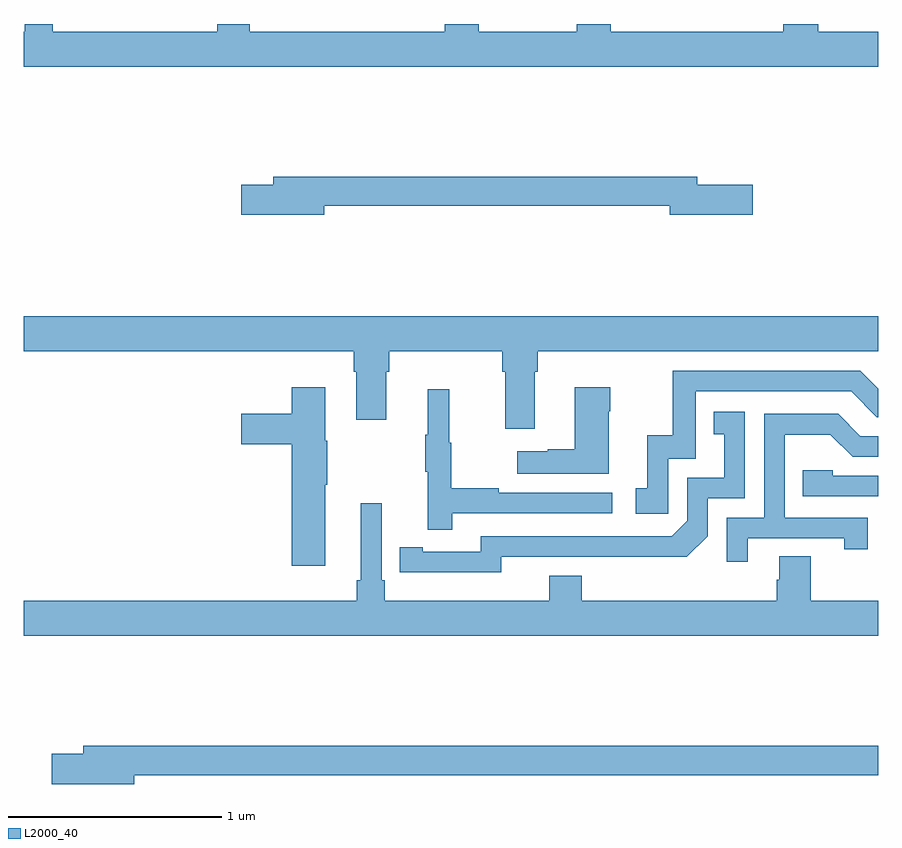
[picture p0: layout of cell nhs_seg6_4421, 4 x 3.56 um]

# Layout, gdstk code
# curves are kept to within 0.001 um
import gdstk
lib = gdstk.Library(unit=1e-6, precision=1e-09)
def P(c, l, *ps):  # polygons
    for p in ps: c.add(gdstk.Polygon(p, *l))
L2000_40 = (2000, 40)

nhs_seg6_4421 = lib.new_cell('nhs_seg6_4421')
P(nhs_seg6_4421, L2000_40, [(375,983.464),(374.72,983.464),(374.72,983.5),(374.555,983.5),(374.555,983.464),(373.748,983.464),(373.748,983.5),(373.588,983.5),(373.588,983.464),(373.131,983.464),(373.131,983.5),(372.971,983.5),(372.971,983.464),(372.059,983.464),(372.059,983.5),(371.906,983.5),(371.906,983.464),(371.135,983.464),(371.135,983.5),(371.005,983.5),(371.005,983.464),(371,983.464),(371,983.3),(375,983.3)],
  [(372.406,982.648),(374.024,982.648),(374.024,982.606),(374.413,982.606),(374.413,982.748),(374.152,982.748),(374.152,982.784),(372.167,982.784),(372.167,982.748),(372.018,982.748),(372.018,982.606),(372.406,982.606)],
  [(373.393,981.872),(373.406,981.872),(373.406,981.968),(375,981.968),(375,982.132),(371,982.132),(371,981.968),(372.545,981.968),(372.545,981.872),(372.557,981.872),(372.557,981.648),(372.697,981.648),(372.697,981.872),(372.71,981.872),(372.71,981.968),(373.241,981.968),(373.241,981.872),(373.253,981.872),(373.253,981.606),(373.393,981.606)],
  [(374.016,981.465),(374.145,981.465),(374.145,981.78),(374.874,981.78),(374.994,981.66),(375,981.66),(375,981.792),(374.916,981.876),(374.037,981.876),(374.037,981.574),(373.919,981.574),(373.919,981.327),(373.866,981.327),(373.866,981.207),(374.016,981.207)],
  [(373.738,981.686),(373.746,981.686),(373.746,981.799),(373.58,981.799),(373.58,981.509),(373.454,981.509),(373.454,981.499),(373.311,981.499),(373.311,981.395),(373.738,981.395)],
  [(372.412,981.343),(372.42,981.343),(372.42,981.549),(372.412,981.549),(372.412,981.799),(372.254,981.799),(372.254,981.675),(372.018,981.675),(372.018,981.533),(372.254,981.533),(372.254,980.964),(372.412,980.964)],
  [(373.007,981.21),(373.756,981.21),(373.756,981.306),(373.223,981.306),(373.223,981.326),(373,981.326),(373,981.54),(372.992,981.54),(372.992,981.79),(372.89,981.79),(372.89,981.577),(372.879,981.577),(372.879,981.403),(372.89,981.403),(372.89,981.132),(373.007,981.132)],
  [(373.236,981.006),(374.104,981.005),(374.202,981.102),(374.202,981.279),(374.376,981.279),(374.376,981.685),(374.23,981.685),(374.23,981.579),(374.279,981.579),(374.279,981.375),(374.106,981.375),(374.106,981.174),(374.034,981.102),(373.14,981.102),(373.14,981.03),(372.868,981.03),(372.868,981.05),(372.76,981.05),(372.76,980.934),(373.236,980.933)],
  [(374.389,981.093),(374.84,981.093),(374.84,981.042),(374.951,981.042),(374.951,981.189),(374.562,981.189),(374.562,981.578),(374.776,981.578),(374.88,981.474),(375,981.474),(375,981.57),(374.917,981.57),(374.812,981.675),(374.466,981.675),(374.466,981.189),(374.292,981.189),(374.292,980.982),(374.389,980.982)],
  [(375,981.384),(374.787,981.384),(374.787,981.411),(374.647,981.411),(374.647,981.288),(375,981.288)],
  [(375,980.8),(374.685,980.8),(374.685,981.008),(374.537,981.008),(374.537,980.898),(374.525,980.898),(374.525,980.8),(373.613,980.8),(373.613,980.917),(373.46,980.917),(373.46,980.8),(372.689,980.8),(372.689,980.896),(372.675,980.896),(372.675,981.256),(372.578,981.256),(372.578,980.896),(372.559,980.896),(372.559,980.8),(371,980.8),(371,980.636),(375,980.636)],
  [(371.518,979.984),(375,979.984),(375,980.12),(371.279,980.12),(371.279,980.084),(371.13,980.084),(371.13,979.942),(371.518,979.942)])

lib.write_gds('nhs_seg6_4421.gds')
